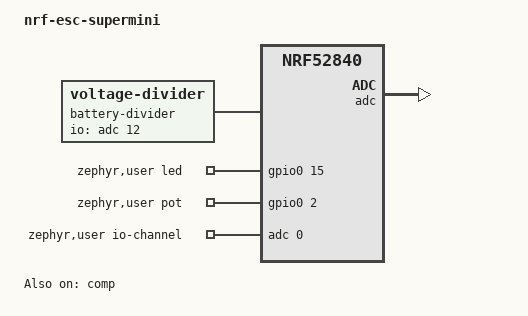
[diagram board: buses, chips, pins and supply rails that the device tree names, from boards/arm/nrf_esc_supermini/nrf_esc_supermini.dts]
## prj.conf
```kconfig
CONFIG_NCS_SAMPLES_DEFAULTS=y

CONFIG_ESB=y

CONFIG_ADC=y
CONFIG_ADC_NRFX_SAADC=y
CONFIG_FPU=y
CONFIG_I2C=y
CONFIG_PINCTRL=y

CONFIG_NVS=y

CONFIG_PM_DEVICE=y
CONFIG_POWEROFF=y

CONFIG_FLASH=y
CONFIG_FLASH_PAGE_LAYOUT=y
CONFIG_FLASH_MAP=y

CONFIG_SETTINGS=y
CONFIG_SETTINGS_NVS=y
CONFIG_SETTINGS_RUNTIME=y

CONFIG_MPU_ALLOW_FLASH_WRITE=y

CONFIG_CONSOLE=y
CONFIG_USE_SEGGER_RTT=y
CONFIG_RTT_CONSOLE=y
CONFIG_LOG=y
CONFIG_LOG_MODE_DEFERRED=y
#CONFIG_LOG_MODE_IMMEDIATE=y
CONFIG_LOG_BACKEND_RTT=y
CONFIG_CBPRINTF_FP_SUPPORT=y
CONFIG_ADC_LOG_LEVEL_OFF=y

CONFIG_PWM=y
CONFIG_GPIO=y

CONFIG_CRC=y

CONFIG_NVS_LOOKUP_CACHE=y

CONFIG_NEWLIB_LIBC=y
CONFIG_NRFX_TIMER1=y

CONFIG_NRFX_COMP=y
CONFIG_NRFX_LPCOMP=y
CONFIG_NRFX_GPIOTE_NUM_OF_EVT_HANDLERS=1

#speed up boot? (use internal rc oscillator)
#CONFIG_CLOCK_CONTROL_NRF_K32SRC_RC=y
#speed up boot? (synthesize lf clock)
CONFIG_CLOCK_CONTROL_NRF_K32SRC_SYNTH=y

#generate uf2 for usb programming
CONFIG_BUILD_OUTPUT_UF2=y

# dont need it
CONFIG_CRYPTO=n
```

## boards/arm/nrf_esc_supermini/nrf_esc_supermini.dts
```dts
// Copyright (c) 2024 Nordic Semiconductor ASA
// SPDX-License-Identifier: Apache-2.0

/dts-v1/;
#include <nordic/nrf52840_qiaa.dtsi>

/ {
	model = "nrf-esc-supermini";
	compatible = "nrf-esc-supermini";

	chosen {
		zephyr,sram = &sram0;
		zephyr,flash = &flash0;
		zephyr,code-partition = &slot0_partition;
	};
	
	battery-divider {
		compatible = "voltage-divider";
		status = "okay";
		io-channels = <&adc 12>; // Measure VDDHDIV5
		output-ohms = <1>;
		full-ohms = <5>;
	};

	zephyr,user {
		led-gpios = <&gpio0 15 GPIO_OPEN_SOURCE>;
		io-channels = <&adc 0>;
		pot-gpios = <&gpio0 2 GPIO_OPEN_SOURCE>;
	};

	reserved-memory {
		#address-cells = <1>;
		#size-cells = <1>;
		ranges;
	};
};

&flash0 {
	partitions {
		compatible = "fixed-partitions";
		#address-cells = <1>;
		#size-cells = <1>;

		boot_partition: partition@0 {
			label = "mcuboot";
			reg = <0x0 0xc000>;
		};
		slot0_partition: partition@c000 {
			label = "image-0";
			reg = <0xc000 0x72000>;
		};
		slot1_partition: partition@7e000 {
			label = "image-1";
			reg = <0x7e000 0x72000>;
		};
		scratch_partition: partition@f0000 {
			label = "image-scratch";
			reg = <0xf0000 0xa000>;
		};
		storage_partition: partition@fa000 {
			label = "storage";
			reg = <0xfa000 0x6000>;
		};
	};
};

&adc {
	status = "okay";
};

&gpiote {
	status = "okay";
};

&gpio0 {
	status = "okay";
};

&gpio1 {
	status = "okay";
};

&cryptocell {
	status = "disabled";
};

&nfct {
	status = "disabled";
};

&comp {
	status = "okay";
    compatible = "nordic,nrf-lpcomp";
};
```

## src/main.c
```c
#include <zephyr/types.h>
#include <stddef.h>
#include <string.h>
#include <errno.h>
#include <zephyr/sys/printk.h>
#include <zephyr/sys/byteorder.h>
#include <zephyr/kernel.h>
#include <zephyr/drivers/gpio.h>
#include <soc.h>
#include <zephyr/settings/settings.h>
#include <math.h>
#include <stdio.h>
#include <stdlib.h>
#include "battery.h"
#include <zephyr/drivers/clock_control.h>
#include <zephyr/drivers/clock_control/nrf_clock_control.h>
#include <zephyr/drivers/gpio.h>
#include <zephyr/irq.h>
#include <zephyr/logging/log.h>
#include <nrf.h>
#include <esb.h>
#include <zephyr/device.h>
#include <zephyr/devicetree.h>
#include <zephyr/kernel.h>
#include <zephyr/types.h>
#include <zephyr/init.h>
#include <hal/nrf_gpio.h>
#include <zephyr/sys/poweroff.h>
#include <zephyr/sys/reboot.h>
#include <zephyr/drivers/i2c.h>
#include <zephyr/drivers/pwm.h>
#include <zephyr/drivers/flash.h>
#include <zephyr/storage/flash_map.h>
#include <zephyr/fs/nvs.h>
#include <nrfx.h>
#include <nrfx_lpcomp.h>
#include <hal/nrf_lpcomp.h>

LOG_MODULE_REGISTER(main, 4);

static struct nvs_fs fs;

#define NVS_PARTITION		storage_partition
#define NVS_PARTITION_DEVICE	FIXED_PARTITION_DEVICE(NVS_PARTITION)
#define NVS_PARTITION_OFFSET	FIXED_PARTITION_OFFSET(NVS_PARTITION)

#define RBT_CNT_ID 1
#define PAIRED_ID 2

static struct esb_payload rx_payload;
static struct esb_payload tx_payload = ESB_CREATE_PAYLOAD(0, 0, 0, 0, 0, 0, 0, 0, 0, 0, 0);
static struct esb_payload tx_payload_pair = ESB_CREATE_PAYLOAD(0, 0, 0, 0, 0, 0, 0, 0, 0);

// this was randomly generated
uint8_t discovery_base_addr_0[4] = {0x62, 0x39, 0x8A, 0xF2};
uint8_t discovery_base_addr_1[4] = {0x28, 0xFF, 0x50, 0xB8};
uint8_t discovery_addr_prefix[8] = {0xFE, 0xFF, 0x29, 0x27, 0x09, 0x02, 0xB2, 0xD6};
uint8_t base_addr_0[4] = {0,0,0,0};
uint8_t base_addr_1[4] = {0,0,0,0};
uint8_t addr_prefix[8] = {0,0,0,0,0,0,0,0};
uint8_t paired_addr[8] = {0,0,0,0,0,0,0,0};

uint8_t reset_mode = -1;

#define ZEPHYR_USER_NODE DT_PATH(zephyr_user)
const struct gpio_dt_spec led = GPIO_DT_SPEC_GET(ZEPHYR_USER_NODE, led_gpios);

int tickrate = 5;

uint8_t fan_batt;
uint8_t batt;
uint8_t batt_v;
uint32_t batt_pptt;

bool main_running = false;

unsigned int last_pot[8] = {0,0,0,0,0,0,0,0};
unsigned int last_batt_pptt[16] = {10001,10001,10001,10001,10001,10001,10001,10001,10001,10001,10001,10001,10001,10001,10001,10001};
int8_t last_pot_i = 0;
int8_t last_batt_pptt_i = 0;
bool system_off_main = false;
bool send_data = false;
int64_t idle_start_time = 0;
bool pot_idle = false;
int64_t last_data_sent = 0;
#define pot_idle_time_dur 10000

void event_handler(struct esb_evt const *event)
{
	switch (event->evt_id)
	{
	case ESB_EVENT_TX_SUCCESS:
		break;
	case ESB_EVENT_TX_FAILED:
		break;
	case ESB_EVENT_RX_RECEIVED:
		if (esb_read_rx_payload(&rx_payload) == 0) {
			if (paired_addr[0] == 0x00) {
				if (rx_payload.length == 8) {
					for (int i = 0; i < 8; i++) {
						paired_addr[i] = rx_payload.data[i];
					}
				}
			} else {
				if (rx_payload.length == 4) {
					if (rx_payload.data[0] == rx_payload.data[1]) {
						fan_batt = rx_payload.data[0];
						last_data_sent = k_uptime_get();
					}
				}
			}
		}
		break;
	}
}

int clocks_start(void)
{
	int err;
	int res;
	struct onoff_manager *clk_mgr;
	struct onoff_client clk_cli;
	clk_mgr = z_nrf_clock_control_get_onoff(CLOCK_CONTROL_NRF_SUBSYS_HF);
	sys_notify_init_spinwait(&clk_cli.notify);
	err = onoff_request(clk_mgr, &clk_cli);
	do
	{
		err = sys_notify_fetch_result(&clk_cli.notify, &res);
	} while (err);
	return 0;
}

int esb_initialize(void)
{
	struct esb_config config = ESB_DEFAULT_CONFIG;

	// config.protocol = ESB_PROTOCOL_ESB_DPL;
	// config.mode = ESB_MODE_PTX;
	config.event_handler = event_handler;
	config.bitrate = ESB_BITRATE_1MBPS;
	// config.crc = ESB_CRC_16BIT;
	config.tx_output_power = 8;
	// config.retransmit_delay = 600;
	//config.retransmit_count = 0;
	//config.tx_mode = ESB_TXMODE_MANUAL;
	// config.payload_length = 32;
	config.selective_auto_ack = true;

	// Fast startup mode
	NRF_RADIO->MODECNF0 |= RADIO_MODECNF0_RU_Fast << RADIO_MODECNF0_RU_Pos;
	// nrf_radio_modecnf0_set(NRF_RADIO, true, 0);

	esb_init(&config);
	esb_set_base_address_0(base_addr_0);
	esb_set_base_address_1(base_addr_1);
	esb_set_prefixes(addr_prefix, ARRAY_SIZE(addr_prefix));

	return 0;
}

int esb_initialize_rx(void)
{
	struct esb_config config = ESB_DEFAULT_CONFIG;

	// config.protocol = ESB_PROTOCOL_ESB_DPL;
	config.mode = ESB_MODE_PRX;
	config.event_handler = event_handler;
	config.bitrate = ESB_BITRATE_1MBPS;
	// config.crc = ESB_CRC_16BIT;
	config.tx_output_power = 8;
	// config.retransmit_delay = 600;
	// config.retransmit_count = 3;
	// config.tx_mode = ESB_TXMODE_AUTO;
	// config.payload_length = 32;
	config.selective_auto_ack = true;

	// Fast startup mode
	NRF_RADIO->MODECNF0 |= RADIO_MODECNF0_RU_Fast << RADIO_MODECNF0_RU_Pos;
	// nrf_radio_modecnf0_set(NRF_RADIO, true, 0);

	esb_init(&config);
	esb_set_base_address_0(base_addr_0);
	esb_set_base_address_1(base_addr_1);
	esb_set_prefixes(addr_prefix, ARRAY_SIZE(addr_prefix));

	return 0;
}

void configure_system_off(void){
	// Configure dock interrupt
	// Set system off
	sys_poweroff();
}

void power_check(void) {
	int batt_mV;
	uint32_t batt_pptt = read_batt_mV(&batt_mV);
	if (batt_pptt == 0) {
		gpio_pin_set_dt(&led, 0); // Turn off LED
		//configure_system_off();
	}
	LOG_INF("Battery %u%% (%dmV)", batt_pptt/100, batt_mV);
}

#include <zephyr/kernel.h>
#include <zephyr/init.h>
#include <zephyr/drivers/gpio.h>
#include <zephyr/drivers/adc.h>
#include <zephyr/drivers/sensor.h>
#include <zephyr/logging/log.h>

const struct device *pot_adc = DEVICE_DT_GET(DT_IO_CHANNELS_CTLR(ZEPHYR_USER_NODE));
int16_t raw;

#include <zephyr/init.h>

int32_t reset_reason;
static int early_init()
{
	reset_reason = NRF_POWER->RESETREAS;
//	NRF_POWER->RESETREAS = NRF_POWER->RESETREAS; // Clear RESETREAS
	return 0;
}

SYS_INIT(early_init, POST_KERNEL, 0);

int main(void)
{
//	int32_t reset_reason = NRF_POWER->RESETREAS;
	NRF_POWER->RESETREAS = NRF_POWER->RESETREAS; // Clear RESETREAS
	uint8_t reboot_counter = 0;
	bool booting_from_shutdown = false;

//	power_check(); // check the battery first before continuing (4ms delta to read from ADC)

	gpio_pin_configure_dt(&led, GPIO_OUTPUT);
	gpio_pin_set_dt(&led, 1);

	struct flash_pages_info info;
	fs.flash_device = NVS_PARTITION_DEVICE;
	fs.offset = NVS_PARTITION_OFFSET; // Start NVS FS here
	flash_get_page_info_by_offs(fs.flash_device, fs.offset, &info);
	fs.sector_size = info.size; // Sector size equal to page size
	fs.sector_count = 4U; // 4 sectors
	nvs_mount(&fs);

	struct adc_sequence asp = {
		.channels = BIT(0),
		.buffer = &raw,
		.buffer_size = sizeof(raw),
		.oversampling = 4,
		.calibrate = true,
	};
	asp.resolution = 14;
	struct adc_channel_cfg accp = {
		.gain = ADC_GAIN_1_6,
		.reference = ADC_REF_INTERNAL,
		.acquisition_time = ADC_ACQ_TIME(ADC_ACQ_TIME_MICROSECONDS, 40),
	};
	accp.input_positive = SAADC_CH_PSELP_PSELP_AnalogInput0;
	adc_channel_setup(pot_adc, &accp);

	if (reset_reason & 0x01) { // Count pin resets
		nvs_read(&fs, RBT_CNT_ID, &reboot_counter, sizeof(reboot_counter));
		reset_mode = reboot_counter;
		reboot_counter++;
		nvs_write(&fs, RBT_CNT_ID, &reboot_counter, sizeof(reboot_counter));
		k_msleep(1000); // Wait before clearing counter and continuing
		reboot_counter = 0;
		nvs_write(&fs, RBT_CNT_ID, &reboot_counter, sizeof(reboot_counter));
	}
	gpio_pin_set_dt(&led, 0);

	if (reset_mode == 1) { // Reset mode pairing reset
		LOG_INF("Enter pairing reset");
		nvs_write(&fs, PAIRED_ID, &paired_addr, sizeof(paired_addr)); // Clear paired address
		reset_mode = 0; // Clear reset mode
	} else {
		// Read paired address from NVS
		nvs_read(&fs, PAIRED_ID, &paired_addr, sizeof(paired_addr));
	}

	clocks_start();

	if (paired_addr[0] == 0x00) { // No dongle paired
		for (int i = 0; i < 4; i++) {
			base_addr_0[i] = discovery_base_addr_0[i];
			base_addr_1[i] = discovery_base_addr_1[i];
		}
		for (int i = 0; i < 8; i++) {
			addr_prefix[i] = discovery_addr_prefix[i];
		}
		esb_initialize();
		tx_payload_pair.noack = false;
		uint64_t addr = (((uint64_t)(NRF_FICR->DEVICEADDR[1]) << 32) | NRF_FICR->DEVICEADDR[0]) & 0xFFFFFF;
		uint8_t check = addr & 255;
		if (check == 0) check = 8;
		LOG_INF("Check Code: %02X", paired_addr[0]);
		tx_payload_pair.data[0] = check; // Use int from device address to make sure packet is for this device
		for (int i = 0; i < 6; i++) {
			tx_payload_pair.data[i+2] = (addr >> (8 * i)) & 0xFF;
		}
		while (paired_addr[0] != check) {
			if (paired_addr[0] != 0x00) {
				LOG_INF("Incorrect check code: %02X", paired_addr[0]);
				paired_addr[0] = 0x00; // Packet not for this device
			}
			esb_flush_rx();
			esb_flush_tx();
			esb_write_payload(&tx_payload_pair); // Still fails after a while
			esb_start_tx();
			gpio_pin_set_dt(&led, 1);
			k_msleep(100);
			gpio_pin_set_dt(&led, 0);
			k_msleep(900);
			power_check();
		}
		LOG_INF("Paired");
		nvs_write(&fs, PAIRED_ID, &paired_addr, sizeof(paired_addr)); // Write new address and tracker id
		esb_disable();
	}

	// Recreate dongle address
	uint8_t buf2[16] = {0,0,0,0,0,0,0,0,0,0,0,0,0,0,0,0};
	for (int i = 0; i < 4; i++) {
		buf2[i] = paired_addr[i+2];
		buf2[i+4] = paired_addr[i+2] + paired_addr[6];
	}
	for (int i = 0; i < 8; i++) {
		buf2[i+8] = paired_addr[7] + i;
	}
	for (int i = 0; i < 16; i++) {
		if (buf2[i] == 0x00 || buf2[i] == 0x55 || buf2[i] == 0xAA) {
			buf2[i] += 8;
		};
	}
	for (int i = 0; i < 4; i++) {
		base_addr_0[i] = buf2[i];
		base_addr_1[i] = buf2[i+4];
	}
	for (int i = 0; i < 8; i++) {
		addr_prefix[i] = buf2[i+8];
	}
	
	esb_initialize();

	tx_payload.noack = false;

	int blink = 0;

	while (1)
	{
		// Get start time
		int64_t time_begin = k_uptime_get();

		int batt_mV;
		batt_pptt = read_batt_mV(&batt_mV);
		last_batt_pptt[last_batt_pptt_i] = batt_pptt;
		last_batt_pptt_i++;
		last_batt_pptt_i %= 15;
		for (uint8_t i = 0; i < 15; i++) {  // Average battery readings across 16 samples
			if (last_batt_pptt[i] == 10001) {
				batt_pptt += batt_pptt / (i + 1);
			} else {
				batt_pptt += last_batt_pptt[i];
			}
		}
		batt_pptt /= 16;
		if (batt_pptt + 49 < last_batt_pptt[15]) {last_batt_pptt[15] = batt_pptt + 49;} // Lower bound -100pptt
		else if (batt_pptt - 49 > last_batt_pptt[15]) {last_batt_pptt[15] = batt_pptt - 49;} // Upper bound +0pptt
		else {batt_pptt = last_batt_pptt[15];} // Effectively 100-10000 -> 1-100%
		int batt = (int)((float)batt_pptt/100.0);

		adc_channel_setup(pot_adc, &accp);
		uint64_t pot_total = 0;
		float pot_total_out = 0;
		for (int i = 0; i < 4; i++) {
			adc_read(pot_adc, &asp);
			int32_t val = raw;
			adc_raw_to_millivolts(adc_ref_internal(pot_adc),
					      accp.gain,
					      asp.resolution,
					      &val);
			//pot_total += raw;
			if (val < 5) {
				goto off; // skip, the value is off
			}
			pot_total += val;
		}
		last_pot[last_pot_i] = pot_total;
		last_pot_i++;
		last_pot_i %= 7;
		for (uint8_t i = 0; i < 7; i++) {  // Average pot readings across 8 samples
			if (last_pot[i] == 0) {
				pot_total += pot_total / (i + 1);
			} else {
				pot_total += last_pot[i];
			}
		}
		pot_total_out = 3300.0 * 10.0 / ((float)pot_total / 32.0) - 10.0;
		if (pot_total_out > 200) pot_total_out = 0; // but the measurement should already be zero, aka off (check from adc!!)
		else {
			pot_total_out /= 190;
			pot_total_out *= 0.92;
			pot_total_out += 0.08;
			pot_total_out *= 32767;
			if (pot_total_out < 0.07) pot_total_out = 0.07;
			if (pot_total_out > 32767) pot_total_out = 32767;
		}
off:
		raw = pot_total_out;

		float idle_val = 0.05 * 32768.0;
		float idle_exit_val = 0.05 * 32768.0;
		if ((pot_total_out > -idle_val && pot_total_out < idle_val) && pot_idle == false)
		{
			pot_idle = true;
			idle_start_time = k_uptime_get();
		}
		if ((pot_total_out < -idle_exit_val || pot_total_out > idle_exit_val) && pot_idle == true)
		{
			pot_idle = false;
			idle_start_time = 0;
		}

		if (idle_start_time != 0 && k_uptime_get() > idle_start_time + 1000)
		{
//			raw = 0;
//			tickrate = 50;
			gpio_pin_set_dt(&led, 0);
//				nrf_gpio_cfg_sense_set(NRF_DT_GPIOS_TO_PSEL(ZEPHYR_USER_NODE, pot_gpios), NRF_GPIO_PIN_SENSE_HIGH); // doesnt work???

//    nrfx_lpcomp_config_t config = NRFX_LPCOMP_DEFAULT_CONFIG(NRF_LPCOMP_INPUT_0);
//    config.detection = NRF_LPCOMP_DETECT_UP;
//    nrfx_lpcomp_init(&config, NULL);
//    nrfx_lpcomp_enable();

//	NRF_LPCOMP->INTENSET = (LPCOMP_INTENSET_CROSS_Enabled << LPCOMP_INTENSET_CROSS_Pos);
//	NVIC_EnableIRQ(LPCOMP_IRQn);
//	NRF_LPCOMP->REFSEL |= (LPCOMP_REFSEL_REFSEL_SupplyFourEighthsPrescaling << LPCOMP_REFSEL_REFSEL_Pos);
//	NRF_LPCOMP->PSEL |= (LPCOMP_PSEL_PSEL_AnalogInput0 << LPCOMP_PSEL_PSEL_Pos);
//	NRF_LPCOMP->ANADETECT = LPCOMP_ANADETECT_ANADETECT_Cross;
//	NRF_LPCOMP->ENABLE = LPCOMP_ENABLE_ENABLE_Enabled;	
//	NRF_LPCOMP->TASKS_START = 1;

//while(NRF_LPCOMP->EVENTS_READY == 0);
//NRF_LPCOMP->EVENTS_READY = 0;

//__WFE();
//				sys_poweroff();
		}
		else
		{
//			tickrate = 5;
			if (batt < 25 && blink < 500/tickrate) // low bat
				gpio_pin_set_dt(&led, 0);
			else
				gpio_pin_set_dt(&led, 1);
			blink++;
			blink %= 1000/tickrate;
		}

		asp.calibrate = false;
		tx_payload.data[0] = (raw >> 8) & 0xff;
		tx_payload.data[1] = raw & 0xff;
		tx_payload.data[2] = (raw >> 8) & 0xff;
		tx_payload.data[3] = raw & 0xff;
//		tx_payload.data[4] = batt;
//		tx_payload.data[5] = batt;
		esb_flush_tx();
		esb_write_payload(&tx_payload); // Add transmission to queue
		esb_start_tx();

		// Get time elapsed and sleep/yield until next tick
		int64_t time_delta = k_uptime_get() - time_begin;
		if (time_delta > tickrate)
		{
			k_yield();
		}
		else
		{
			k_msleep(tickrate - time_delta);
		}
	}
}
// Transmitter, has OLED, transmits pwm and receives battery and rpm and data from pump
```

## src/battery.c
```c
/*
 * Copyright (c) 2018-2019 Peter Bigot Consulting, LLC
 * Copyright (c) 2019-2020 Nordic Semiconductor ASA
 *
 * SPDX-License-Identifier: Apache-2.0
 */

#include <math.h>
#include <stdio.h>
#include <stdlib.h>

#include <zephyr/kernel.h>
#include <zephyr/init.h>
#include <zephyr/drivers/gpio.h>
#include <zephyr/drivers/adc.h>
#include <zephyr/drivers/sensor.h>
#include <zephyr/logging/log.h>

#include "battery.h"

LOG_MODULE_REGISTER(BATTERY, 4);

#define VBATT DT_PATH(battery_divider)
#define ZEPHYR_USER DT_PATH(zephyr_user)

#ifdef CONFIG_BOARD_THINGY52_NRF52832
/* This board uses a divider that reduces max voltage to
 * reference voltage (600 mV).
 */
#define BATTERY_ADC_GAIN ADC_GAIN_1
#else
/* Other boards may use dividers that only reduce battery voltage to
 * the maximum supported by the hardware (3.6 V)
 */
#define BATTERY_ADC_GAIN ADC_GAIN_1_6
#endif

struct io_channel_config {
	uint8_t channel;
};

struct divider_config {
	struct io_channel_config io_channel;
	struct gpio_dt_spec power_gpios;
	/* output_ohm is used as a flag value: if it is nonzero then
	 * the battery is measured through a voltage divider;
	 * otherwise it is assumed to be directly connected to Vdd.
	 */
	uint32_t output_ohm;
	uint32_t full_ohm;
};

static const struct divider_config divider_config = {
#if DT_NODE_HAS_STATUS(VBATT, okay)
	.io_channel = {
		DT_IO_CHANNELS_INPUT(VBATT),
	},
	.power_gpios = GPIO_DT_SPEC_GET_OR(VBATT, power_gpios, {}),
	.output_ohm = DT_PROP(VBATT, output_ohms),
	.full_ohm = DT_PROP(VBATT, full_ohms),
#else /* /vbatt exists */
	.io_channel = {
		DT_IO_CHANNELS_INPUT(ZEPHYR_USER),
	},
#endif /* /vbatt exists */
};

struct divider_data {
	const struct device *adc;
	struct adc_channel_cfg adc_cfg;
	struct adc_sequence adc_seq;
	int16_t raw;
};
static struct divider_data divider_data = {
#if DT_NODE_HAS_STATUS(VBATT, okay)
	.adc = DEVICE_DT_GET(DT_IO_CHANNELS_CTLR(VBATT)),
#else
	.adc = DEVICE_DT_GET(DT_IO_CHANNELS_CTLR(ZEPHYR_USER)),
#endif
};

static int divider_setup(void)
{
	const struct divider_config *cfg = &divider_config;
	const struct io_channel_config *iocp = &cfg->io_channel;
	const struct gpio_dt_spec *gcp = &cfg->power_gpios;
	struct divider_data *ddp = &divider_data;
	struct adc_sequence *asp = &ddp->adc_seq;
	struct adc_channel_cfg *accp = &ddp->adc_cfg;
	int rc;

	if (!device_is_ready(ddp->adc)) {
		LOG_ERR("ADC device is not ready %s", ddp->adc->name);
		return -ENOENT;
	}

	if (gcp->port) {
		if (!device_is_ready(gcp->port)) {
			LOG_ERR("%s: device not ready", gcp->port->name);
			return -ENOENT;
		}
		rc = gpio_pin_configure_dt(gcp, GPIO_OUTPUT_INACTIVE);
		if (rc != 0) {
			LOG_ERR("Failed to control feed %s.%u: %d",
				gcp->port->name, gcp->pin, rc);
			return rc;
		}
	}

	*asp = (struct adc_sequence){
		.channels = BIT(0),
		.buffer = &ddp->raw,
		.buffer_size = sizeof(ddp->raw),
		.oversampling = 4,
		.calibrate = true,
	};

#ifdef CONFIG_ADC_NRFX_SAADC
	*accp = (struct adc_channel_cfg){
		.gain = BATTERY_ADC_GAIN,
		.reference = ADC_REF_INTERNAL,
		.acquisition_time = ADC_ACQ_TIME(ADC_ACQ_TIME_MICROSECONDS, 40),
	};

	if (cfg->output_ohm != 0) {
		accp->input_positive = SAADC_CH_PSELP_PSELP_AnalogInput0
			+ iocp->channel;
	} else {
		accp->input_positive = SAADC_CH_PSELP_PSELP_VDD;
	}

	asp->resolution = 14;
#else /* CONFIG_ADC_var */
#error Unsupported ADC
#endif /* CONFIG_ADC_var */

	rc = adc_channel_setup(ddp->adc, accp);
	LOG_INF("Setup AIN%u got %d", iocp->channel, rc);

	return rc;
}

static bool battery_ok;

static int battery_setup()
{
	int rc = divider_setup();

	battery_ok = (rc == 0);
	LOG_INF("Battery setup: %d %d", rc, battery_ok);
	return rc;
}

SYS_INIT(battery_setup, APPLICATION, CONFIG_APPLICATION_INIT_PRIORITY);

int battery_measure_enable(bool enable)
{
	int rc = -ENOENT;

	if (battery_ok) {
		const struct gpio_dt_spec *gcp = &divider_config.power_gpios;

		rc = 0;
		if (gcp->port) {
			rc = gpio_pin_set_dt(gcp, enable);
		}
	}
	return rc;
}

int battery_sample(void)
{
	int rc = -ENOENT;

	if (battery_ok) {
		struct divider_data *ddp = &divider_data;
		const struct divider_config *dcp = &divider_config;
		struct adc_sequence *sp = &ddp->adc_seq;
	struct adc_channel_cfg *accp = &ddp->adc_cfg;
		adc_channel_setup(ddp->adc, accp);

		rc = adc_read(ddp->adc, sp);
		sp->calibrate = false;
		if (rc == 0) {
			int32_t val = ddp->raw;

			adc_raw_to_millivolts(adc_ref_internal(ddp->adc),
					      ddp->adc_cfg.gain,
					      sp->resolution,
					      &val);

			if (dcp->output_ohm != 0) {
				rc = val * (uint64_t)dcp->full_ohm
					/ dcp->output_ohm;
				LOG_INF("raw %u ~ %u mV => %d mV\n",
					ddp->raw, val, rc);
			} else {
				rc = val;
				LOG_INF("raw %u ~ %u mV\n", ddp->raw, val);
			}
		}
	}

	return rc;
}

unsigned int battery_level_pptt(unsigned int batt_mV,
				const struct battery_level_point *curve)
{
	const struct battery_level_point *pb = curve;

	if (batt_mV >= pb->lvl_mV) {
		/* Measured voltage above highest point, cap at maximum. */
		return pb->lvl_pptt;
	}
	/* Go down to the last point at or below the measured voltage. */
	while ((pb->lvl_pptt > 0)
	       && (batt_mV < pb->lvl_mV)) {
		++pb;
	}
	if (batt_mV < pb->lvl_mV) {
		/* Below lowest point, cap at minimum */
		return pb->lvl_pptt;
	}

	/* Linear interpolation between below and above points. */
	const struct battery_level_point *pa = pb - 1;

	return pb->lvl_pptt
	       + ((pa->lvl_pptt - pb->lvl_pptt)
		  * (batt_mV - pb->lvl_mV)
		  / (pa->lvl_mV - pb->lvl_mV));
}

static const struct battery_level_point levels[] = {
	{ 10000, 4150 },
	{ 9500, 4075 },
	{ 3000, 3775 },
	{ 500, 3450 },
	{ 0, 3200 },
};

unsigned int read_batt()
{
	int rc = battery_measure_enable(true);

	if (rc != 0) {
		printk("Failed initialize battery measurement: %d\n", rc);
		return -1;
	}

	int batt_mV = battery_sample();

	if (batt_mV < 0) {
		printk("Failed to read battery voltage: %d\n",
		       batt_mV);
	}

	battery_measure_enable(false);

	return battery_level_pptt(batt_mV, levels);
}

unsigned int read_batt_mV(int *out)
{
	int rc = battery_measure_enable(true);

	if (rc != 0) {
		printk("Failed initialize battery measurement: %d\n", rc);
		return -1;
	}

	int batt_mV = battery_sample();

	if (batt_mV < 0) {
		printk("Failed to read battery voltage: %d\n",
		       batt_mV);
	}

	battery_measure_enable(false);

	*out = batt_mV;
	return battery_level_pptt(batt_mV, levels);
}
```
